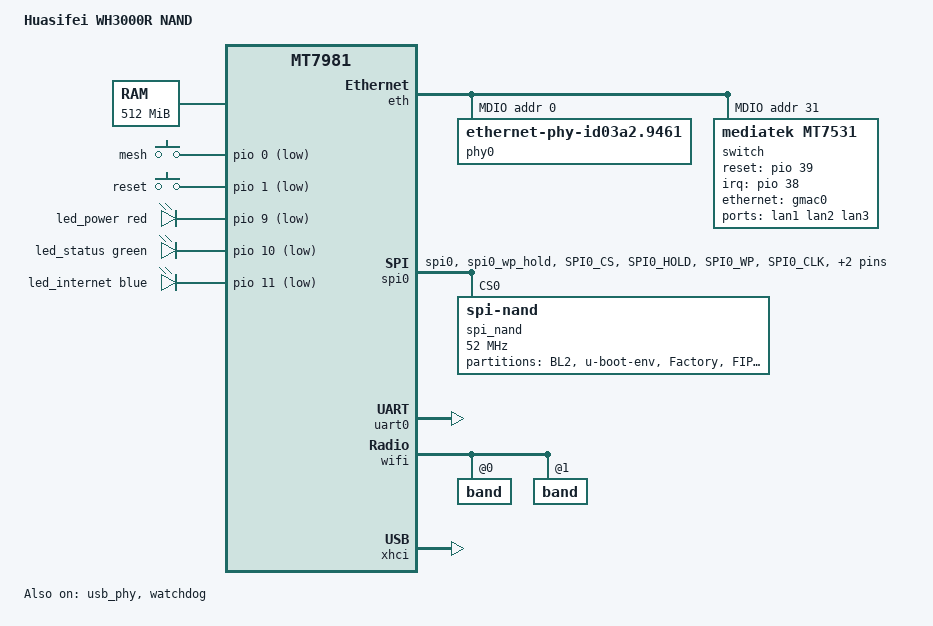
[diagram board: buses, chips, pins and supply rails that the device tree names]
// SPDX-License-Identifier: GPL-2.0-or-later OR MIT

/dts-v1/;
#include <dt-bindings/gpio/gpio.h>
#include <dt-bindings/input/input.h>
#include <dt-bindings/leds/common.h>

#include "mt7981b.dtsi"

/ {
	model = "Huasifei WH3000R NAND";
	compatible = "huasifei,wh3000r-nand", "mediatek,mt7981";

	aliases {
		label-mac-device = &gmac1;

		led-boot = &led_power;
		led-failsafe = &led_power;
		led-running = &led_status;
		led-upgrade = &led_power;

		serial0 = &uart0;
	};

	chosen {
		stdout-path = "serial0:115200n8";
	};

	memory {
		reg = <0 0x40000000 0 0x20000000>;
		device_type = "memory";
	};

	gpio-keys {
		compatible = "gpio-keys";

		button-mesh {
			label = "mesh";
			linux,code = <KEY_RFKILL>;
			gpios = <&pio 0 GPIO_ACTIVE_LOW>;
			debounce-interval = <60>;
		};

		button-reset {
			label = "reset";
			linux,code = <KEY_RESTART>;
			gpios = <&pio 1 GPIO_ACTIVE_LOW>;
			debounce-interval = <60>;
		};
	};

	gpio-leds {
		compatible = "gpio-leds";

		led_power: led_power {
			function = LED_FUNCTION_POWER;
			color = <LED_COLOR_ID_RED>;
			gpios = <&pio 9 GPIO_ACTIVE_LOW>;
		};

		led_status: led_status {
			function = LED_FUNCTION_STATUS;
			color = <LED_COLOR_ID_GREEN>;
			gpios = <&pio 10 GPIO_ACTIVE_LOW>;
		};

		led_internet {
			function = LED_FUNCTION_WAN_ONLINE;
			color = <LED_COLOR_ID_BLUE>;
			gpios = <&pio 11 GPIO_ACTIVE_LOW>;
		};
	};
};

&eth {
	status = "okay";

	gmac0: mac@0 {
		compatible = "mediatek,eth-mac";
		reg = <0>;
		phy-mode = "2500base-x";
		nvmem-cells = <&macaddr_factory_4 1>;
		nvmem-cell-names = "mac-address";

		fixed-link {
			speed = <2500>;
			full-duplex;
			pause;
		};
	};

	gmac1: mac@1 {
		compatible = "mediatek,eth-mac";
		reg = <1>;
		phy-mode = "gmii";
		nvmem-cells = <&macaddr_factory_4 0>;
		nvmem-cell-names = "mac-address";
		phy-handle = <&phy0>;
		label = "wan";
	};

	mdio: mdio-bus {
		#address-cells = <1>;
		#size-cells = <0>;

		phy0: ethernet-phy@0 {
			compatible = "ethernet-phy-id03a2.9461";
			reg = <0>;
			phy-mode = "gmii";
			nvmem-cells = <&phy_calibration>;
			nvmem-cell-names = "phy-cal-data";
		};

		switch: switch@1f {
			compatible = "mediatek,mt7531";
			reg = <0x1f>;
			reset-gpios = <&pio 39 GPIO_ACTIVE_HIGH>;
			interrupt-controller;
			#interrupt-cells = <1>;
			interrupt-parent = <&pio>;
			interrupts = <38 IRQ_TYPE_LEVEL_HIGH>;
		};
	};
};

&spi0 {
	pinctrl-names = "default";
	pinctrl-0 = <&spi0_flash_pins>;
	status = "okay";

	spi_nand@0 {
		compatible = "spi-nand";
		reg = <0>;

		spi-max-frequency = <52000000>;
		spi-tx-bus-width = <4>;
		spi-rx-bus-width = <4>;

		spi-cal-enable;
		spi-cal-mode = "read-data";
		spi-cal-datalen = <7>;
		spi-cal-data = /bits/ 8 <0x53 0x50 0x49 0x4e 0x41 0x4e 0x44>;
		spi-cal-addrlen = <5>;
		spi-cal-addr = /bits/ 32 <0x0 0x0 0x0 0x0 0x0>;

		mediatek,nmbm;
		mediatek,bmt-max-ratio = <1>;
		mediatek,bmt-max-reserved-blocks = <64>;

		partitions {
			compatible = "fixed-partitions";
			#address-cells = <1>;
			#size-cells = <1>;

			partition@0 {
				label = "BL2";
				reg = <0x0 0x100000>;
				read-only;
			};

			partition@100000 {
				label = "u-boot-env";
				reg = <0x100000 0x80000>;
				read-only;
			};

			partition@180000 {
				label = "Factory";
				reg = <0x180000 0x200000>;
				read-only;

				nvmem-layout {
					compatible = "fixed-layout";
					#address-cells = <1>;
					#size-cells = <1>;

					eeprom_factory_0: eeprom@0 {
						reg = <0x0 0x1000>;
					};

					macaddr_factory_4: macaddr@4 {
						compatible = "mac-base";
						reg = <0x4 0x6>;
						#nvmem-cell-cells = <1>;
					};
				};
			};

			partition@380000 {
				label = "FIP";
				reg = <0x380000 0x200000>;
				read-only;
			};

			partition@580000 {
				label = "ubi";
				reg = <0x580000 0xe280000>;
			};
		};
	};
};

&pio {
	spi0_flash_pins: spi0-pins {
		mux {
			function = "spi";
			groups = "spi0", "spi0_wp_hold";
		};

		conf-pu {
			pins = "SPI0_CS", "SPI0_HOLD", "SPI0_WP";
			drive-strength = <MTK_DRIVE_8mA>;
			bias-pull-up = <MTK_PUPD_SET_R1R0_11>;
		};

		conf-pd {
			pins = "SPI0_CLK", "SPI0_MOSI", "SPI0_MISO";
			drive-strength = <MTK_DRIVE_8mA>;
			bias-pull-down = <MTK_PUPD_SET_R1R0_11>;
		};
	};
};

&switch {
	ports {
		#address-cells = <1>;
		#size-cells = <0>;

		port@0 {
			reg = <0>;
			label = "lan1";
		};

		port@1 {
			reg = <1>;
			label = "lan2";
		};

		port@2 {
			reg = <2>;
			label = "lan3";
		};

		port@6 {
			reg = <6>;
			ethernet = <&gmac0>;
			phy-mode = "2500base-x";

			fixed-link {
				speed = <2500>;
				full-duplex;
				pause;
			};
		};
	};
};

&usb_phy {
	status = "okay";
};

&uart0 {
	status = "okay";
};

&watchdog {
	status = "okay";
};

&wifi {
	status = "okay";
	#address-cells = <1>;
	#size-cells = <0>;
	nvmem-cells = <&eeprom_factory_0>;
	nvmem-cell-names = "eeprom";

	band@0 {
		reg = <0>;
		nvmem-cells = <&macaddr_factory_4 2>;
		nvmem-cell-names = "mac-address";
	};

	band@1 {
		reg = <1>;
		nvmem-cells = <&macaddr_factory_4 3>;
		nvmem-cell-names = "mac-address";
	};
};

&xhci {
	status = "okay";
};
